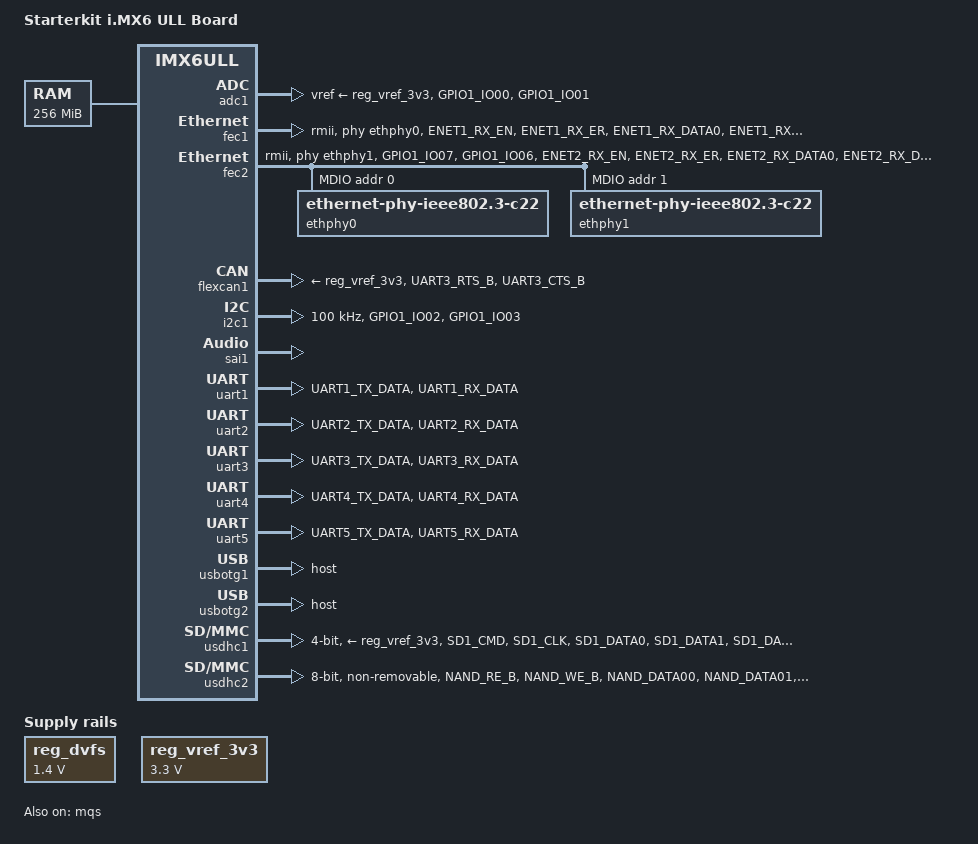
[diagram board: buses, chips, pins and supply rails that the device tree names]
/*
 * Copyright (C) 2020 starterkit.ru
 *
 * This program is free software; you can redistribute it and/or modify
 * it under the terms of the GNU General Public License version 2 as
 * published by the Free Software Foundation.
 */

/dts-v1/;

#include <dt-bindings/input/input.h>
#include "imx6ull.dtsi"

/ {
	model = "Starterkit i.MX6 ULL Board";
	compatible = "fsl,imx6ull-14x14-evk", "fsl,imx6ull";

	chosen {
		stdout-path = &uart1;
	};

	memory {
		reg = <0x80000000 0x10000000>;
	};

	reserved-memory {
		#address-cells = <1>;
		#size-cells = <1>;
		ranges;

		linux,cma {
			compatible = "shared-dma-pool";
			reusable;
			size = <0x14000000>;
			linux,cma-default;
		};
	};

	regulators {
		compatible = "simple-bus";
		#address-cells = <1>;
		#size-cells = <0>;

		reg_dvfs: regulator@1 {
			compatible = "regulator-fixed";
			regulator-name = "DVFS_1V4";
			regulator-min-microvolt = <1400000>;
			regulator-max-microvolt = <1400000>;
		};

		reg_vref_3v3: regulator@2 {
			compatible = "regulator-fixed";
			regulator-name = "vref-3v3";
			regulator-min-microvolt = <3300000>;
			regulator-max-microvolt = <3300000>;
		};
	};

	sound-mqs {
		compatible = "fsl,imx6ull-sk-mqs", "fsl,imx-audio-mqs";
		model = "mqs-audio";
		cpu-dai = <&sai1>;
		asrc-controller = <&asrc>;
		audio-codec = <&mqs>;
	};
};

&adc1 {
	pinctrl-names = "default";
	pinctrl-0 = <&pinctrl_adc1>;
	vref-supply = <&reg_vref_3v3>;
	num-channels = <8>;
	status = "okay";
};

&clks {
	assigned-clocks = <&clks IMX6UL_CLK_PLL4_AUDIO_DIV>;
	assigned-clock-rates = <786432000>;
};

&cpu0 {
	arm-supply = <&reg_arm>;
	soc-supply = <&reg_soc>;
	dc-supply = <&reg_dvfs>;
};

&fec1 {
	pinctrl-names = "default", "gpio";
	pinctrl-0 = <&pinctrl_enet1>;
	pinctrl-1 = <&pinctrl_enet1_gpio>;
	phy-mode = "rmii";
	phy-reset-gpios = <&gpio5 1 0>;
	phy-addr-gpios = <&gpio2 7 0>;
	phy-handle = <&ethphy0>;
	status = "okay";
};

&fec2 {
	pinctrl-names = "default", "gpio";
	pinctrl-0 = <&pinctrl_enet2>;
	pinctrl-1 = <&pinctrl_enet2_gpio>;
	phy-mode = "rmii";
	phy-reset-gpios = <&gpio4 24 0>;
	phy-addr-gpios = <&gpio2 15 0>;
	phy-handle = <&ethphy1>;
	status = "okay";

	mdio {
		#address-cells = <1>;
		#size-cells = <0>;

		ethphy0: ethernet-phy@0 {
			compatible = "ethernet-phy-ieee802.3-c22";
			reg = <0>;
		};

		ethphy1: ethernet-phy@1 {
			compatible = "ethernet-phy-ieee802.3-c22";
			reg = <1>;
		};
	};
};

&flexcan1 {
	pinctrl-names = "default";
	pinctrl-0 = <&pinctrl_flexcan1>;
	xceiver-supply = <&reg_vref_3v3>;
	status = "okay";
};

&gpc {
	fsl,cpu_pupscr_sw2iso = <0x1>;
	fsl,cpu_pupscr_sw = <0x0>;
	fsl,cpu_pdnscr_iso2sw = <0x1>;
	fsl,cpu_pdnscr_iso = <0x1>;
	fsl,ldo-bypass = <0>; /* DCDC, ldo-enable */
};

&i2c1 {
	clock-frequency = <100000>;
	pinctrl-names = "default";
	pinctrl-0 = <&pinctrl_i2c1>;
	status = "okay";

//	pcf8574@20 {
//		compatible = "nxp,pcf8574";
//		reg = <0x20>;
//	};
};

&iomuxc {
	pinctrl-names = "default";
	pinctrl-0 = <&pinctrl_hog_1>;
	imx6ul-sk {
		pinctrl_hog_1: hoggrp-1 {
			fsl,pins = <
				/* ETH2_RES */
				MX6UL_PAD_CSI_DATA03__GPIO4_IO24    0x80000000
				/* GPIO_4 */
				MX6UL_PAD_GPIO1_IO04__GPIO1_IO04	0x80000000
				/* SD CD */
				//MX6UL_PAD_UART2_CTS_B__GPIO1_IO22   0x80000000
				MX6UL_PAD_LCD_DATA10__GPIO3_IO15	0x80000000
				MX6UL_PAD_LCD_DATA11__GPIO3_IO16	0x80000000
				/* GPIO_0/ADC */
				/* MX6UL_PAD_GPIO1_IO00__GPIO1_IO00	0x80000000 */
				/* GPIO_1/ADC */
				MX6UL_PAD_GPIO1_IO01__GPIO1_IO01	0x0000B0B1  /* gled */
				/* GPIO_2/I2C1_SCL */
				/* MX6UL_PAD_GPIO1_IO02__GPIO1_IO02	0x80000000 */
				/* GPIO_3/I2C1_SDA */
				/* MX6UL_PAD_GPIO1_IO03__GPIO1_IO03	0x80000000 */

                MX6UL_PAD_UART4_TX_DATA__GPIO1_IO28 0x0000B0B1	/* bled */
				MX6UL_PAD_UART5_RX_DATA__GPIO1_IO31 0x0000B0B1	/* rled */
				MX6UL_PAD_UART5_TX_DATA__GPIO1_IO30 0x0000B0B1	/* btn */
				MX6UL_PAD_UART2_RTS_B__GPIO1_IO23	0x0000B0B1	/* codec ctl */
				MX6UL_PAD_UART4_RX_DATA__GPIO1_IO29 0x0000B0B1	/* amp ctl */
				MX6UL_PAD_UART2_CTS_B__GPIO1_IO22	0x0000B0B1	/* ksz rst */
			>;
		};

		pinctrl_adc1: adc1grp {
			fsl,pins = <
				MX6UL_PAD_GPIO1_IO00__GPIO1_IO00	0xb0
				MX6UL_PAD_GPIO1_IO01__GPIO1_IO01	0xb0
			>;
		};

		pinctrl_enet1: enet1grp {
			fsl,pins = <
				MX6UL_PAD_ENET1_RX_EN__ENET1_RX_EN         0x1b0b0
				MX6UL_PAD_ENET1_RX_ER__ENET1_RX_ER         0x1b0b0
				MX6UL_PAD_ENET1_RX_DATA0__ENET1_RDATA00    0x1b0b0
				MX6UL_PAD_ENET1_RX_DATA1__ENET1_RDATA01    0x1b0b0
				MX6UL_PAD_ENET1_TX_EN__ENET1_TX_EN         0x1b0b0
				MX6UL_PAD_ENET1_TX_DATA0__ENET1_TDATA00    0x1b0b0
				MX6UL_PAD_ENET1_TX_DATA1__ENET1_TDATA01    0x1b0b0
				MX6UL_PAD_ENET1_TX_CLK__ENET1_REF_CLK1     0x4001b031
			>;
		};

		pinctrl_enet1_gpio: enet1gpiogrp {
			fsl,pins = <
				MX6UL_PAD_ENET1_RX_EN__ENET1_RX_EN         0x1b0b0
				MX6UL_PAD_ENET1_RX_ER__GPIO2_IO07          0x1b0b0
				MX6UL_PAD_ENET1_RX_DATA0__ENET1_RDATA00    0x1b0b0
				MX6UL_PAD_ENET1_RX_DATA1__ENET1_RDATA01    0x1b0b0
				MX6UL_PAD_ENET1_TX_EN__ENET1_TX_EN         0x1b0b0
				MX6UL_PAD_ENET1_TX_DATA0__ENET1_TDATA00    0x1b0b0
				MX6UL_PAD_ENET1_TX_DATA1__ENET1_TDATA01    0x1b0b0
				MX6UL_PAD_ENET1_TX_CLK__ENET1_REF_CLK1     0x4001b031
			>;
		};

		pinctrl_enet2: enet2grp {
			fsl,pins = <
				MX6UL_PAD_GPIO1_IO07__ENET2_MDC	           0x1b0b0
				MX6UL_PAD_GPIO1_IO06__ENET2_MDIO           0x1b0b0
				MX6UL_PAD_ENET2_RX_EN__ENET2_RX_EN         0x1b0b0
				MX6UL_PAD_ENET2_RX_ER__ENET2_RX_ER         0x1b0b0
				MX6UL_PAD_ENET2_RX_DATA0__ENET2_RDATA00    0x1b0b0
				MX6UL_PAD_ENET2_RX_DATA1__ENET2_RDATA01    0x1b0b0
				MX6UL_PAD_ENET2_TX_EN__ENET2_TX_EN         0x1b0b0
				MX6UL_PAD_ENET2_TX_DATA0__ENET2_TDATA00    0x1b0b0
				MX6UL_PAD_ENET2_TX_DATA1__ENET2_TDATA01    0x1b0b0
				MX6UL_PAD_ENET2_TX_CLK__ENET2_REF_CLK2     0x4001b031
			>;
		};

		pinctrl_enet2_gpio: enet2gpiogrp {
			fsl,pins = <
				MX6UL_PAD_GPIO1_IO07__ENET2_MDC	           0x1b0b0
				MX6UL_PAD_GPIO1_IO06__ENET2_MDIO           0x1b0b0
				MX6UL_PAD_ENET2_RX_EN__ENET2_RX_EN         0x1b0b0
				MX6UL_PAD_ENET2_RX_ER__GPIO2_IO15          0x1b0b0
				MX6UL_PAD_ENET2_RX_DATA0__ENET2_RDATA00    0x1b0b0
				MX6UL_PAD_ENET2_RX_DATA1__ENET2_RDATA01    0x1b0b0
				MX6UL_PAD_ENET2_TX_EN__ENET2_TX_EN         0x1b0b0
				MX6UL_PAD_ENET2_TX_DATA0__ENET2_TDATA00    0x1b0b0
				MX6UL_PAD_ENET2_TX_DATA1__ENET2_TDATA01    0x1b0b0
				MX6UL_PAD_ENET2_TX_CLK__ENET2_REF_CLK2     0x4001b031
			>;
		};

		pinctrl_flexcan1: flexcan1grp {
			fsl,pins = <
				MX6UL_PAD_UART3_RTS_B__FLEXCAN1_RX      0x1b020
				MX6UL_PAD_UART3_CTS_B__FLEXCAN1_TX      0x1b020
			>;
		};

		pinctrl_i2c1: i2c1grp {
			fsl,pins = <
				MX6UL_PAD_GPIO1_IO02__I2C1_SCL    0x4001b8b0
				MX6UL_PAD_GPIO1_IO03__I2C1_SDA    0x4001b8b0
			>;
		};

		pinctrl_mqs: mqsgrp {
			fsl,pins = <
				MX6UL_PAD_JTAG_TDI__MQS_LEFT    0x11088
			>;
		};

		pinctrl_uart1: uart1grp {
			fsl,pins = <
				MX6UL_PAD_UART1_TX_DATA__UART1_DCE_TX    0x1b0b1
				MX6UL_PAD_UART1_RX_DATA__UART1_DCE_RX    0x1b0b1
			>;
		};

		pinctrl_uart2: uart2grp {
			fsl,pins = <
				MX6UL_PAD_UART2_TX_DATA__UART2_DCE_TX    0x1b0b1
				MX6UL_PAD_UART2_RX_DATA__UART2_DCE_RX    0x1b0b1
			>;
		};

		pinctrl_uart3: uart3grp {
			fsl,pins = <
				MX6UL_PAD_UART3_TX_DATA__UART3_DCE_TX    0x1b0b1
				MX6UL_PAD_UART3_RX_DATA__UART3_DCE_RX    0x1b0b1
				// MX6UL_PAD_UART2_RTS_B__GPIO1_IO23        0x1b0b1
			>;
		};

		pinctrl_uart4: uart4grp {
			fsl,pins = <
				MX6UL_PAD_UART4_TX_DATA__UART4_DCE_TX    0x1b0b1
				MX6UL_PAD_UART4_RX_DATA__UART4_DCE_RX    0x1b0b1
			>;
		};

		pinctrl_uart5: uart5grp {
			fsl,pins = <
				MX6UL_PAD_UART5_TX_DATA__UART5_DCE_TX    0x1b0b1
				MX6UL_PAD_UART5_RX_DATA__UART5_DCE_RX    0x1b0b1
			>;
		};

		pinctrl_usdhc1: usdhc1grp {
			fsl,pins = <
				MX6UL_PAD_SD1_CMD__USDHC1_CMD        0x17059
				MX6UL_PAD_SD1_CLK__USDHC1_CLK        0x10071
				MX6UL_PAD_SD1_DATA0__USDHC1_DATA0    0x17059
				MX6UL_PAD_SD1_DATA1__USDHC1_DATA1    0x17059
				MX6UL_PAD_SD1_DATA2__USDHC1_DATA2    0x17059
				MX6UL_PAD_SD1_DATA3__USDHC1_DATA3    0x17059
			>;
		};

		pinctrl_usdhc2_8bit: usdhc2grp_8bit {
			fsl,pins = <
				MX6UL_PAD_NAND_RE_B__USDHC2_CLK        0x10069
				MX6UL_PAD_NAND_WE_B__USDHC2_CMD        0x17059
				MX6UL_PAD_NAND_DATA00__USDHC2_DATA0    0x17059
				MX6UL_PAD_NAND_DATA01__USDHC2_DATA1    0x17059
				MX6UL_PAD_NAND_DATA02__USDHC2_DATA2    0x17059
				MX6UL_PAD_NAND_DATA03__USDHC2_DATA3    0x17059
				MX6UL_PAD_NAND_DATA04__USDHC2_DATA4    0x17059
				MX6UL_PAD_NAND_DATA05__USDHC2_DATA5    0x17059
				MX6UL_PAD_NAND_DATA06__USDHC2_DATA6    0x17059
				MX6UL_PAD_NAND_DATA07__USDHC2_DATA7    0x17059
				MX6UL_PAD_NAND_ALE__USDHC2_RESET_B     0x170b0
			>;
		};
	};
};

&iomuxc_snvs {
	pinctrl-names = "default_snvs";
	pinctrl-0 = <&pinctrl_hog_2>;
	imx6ul-sk {
		pinctrl_hog_2: hoggrp-2 {
			fsl,pins = <
				/* ETH_RES */
				MX6ULL_PAD_SNVS_TAMPER1__GPIO5_IO01    0x80000000
			>;
		};
	};
};

&sai1 {
	assigned-clocks = <&clks IMX6UL_CLK_SAI1_SEL>,
			<&clks IMX6UL_CLK_SAI1>;
	assigned-clock-parents = <&clks IMX6UL_CLK_PLL4_AUDIO_DIV>;
	assigned-clock-rates = <0>, <24576000>;
	status = "okay";
};

&mqs {
	pinctrl-names = "default";
	pinctrl-0 = <&pinctrl_mqs>;
	clocks = <&clks IMX6UL_CLK_SAI1>;
	clock-names = "mclk";
	status = "okay";
};

&uart1 {
	pinctrl-names = "default";
	pinctrl-0 = <&pinctrl_uart1>;
	status = "okay";
};

&uart2 {
	pinctrl-names = "default";
	pinctrl-0 = <&pinctrl_uart2>;
	status = "okay";
};

&uart3 {
	pinctrl-names = "default";
	pinctrl-0 = <&pinctrl_uart3>;
	//rts-gpios = <&gpio1 23 GPIO_ACTIVE_HIGH>;
	status = "okay";
};

&uart4 {
	pinctrl-names = "default";
	pinctrl-0 = <&pinctrl_uart4>;
	status = "okay";
};

&uart5 {
	pinctrl-names = "default";
	pinctrl-0 = <&pinctrl_uart5>;
	status = "okay";
};

&usbotg1 {
	dr_mode = "host";
	disable-over-current;
	status = "okay";
};

&usbotg2 {
	dr_mode = "host";
	disable-over-current;
	status = "okay";
};

&usbphy1 {
	tx-d-cal = <0x5>;
};

&usbphy2 {
	tx-d-cal = <0x5>;
};

&usdhc1 {
	pinctrl-names = "default";
	pinctrl-0 = <&pinctrl_usdhc1>;
	//cd-gpios = <&gpio1 22 GPIO_ACTIVE_LOW>;
	bus-width = <4>;
	no-1-8-v;
	vmmc-supply = <&reg_vref_3v3>;
	status = "okay";
};

&usdhc2 {
	pinctrl-names = "default";
	pinctrl-0 = <&pinctrl_usdhc2_8bit>;
	bus-width = <8>;
	no-1-8-v;
	non-removable;
	status = "okay";
};
